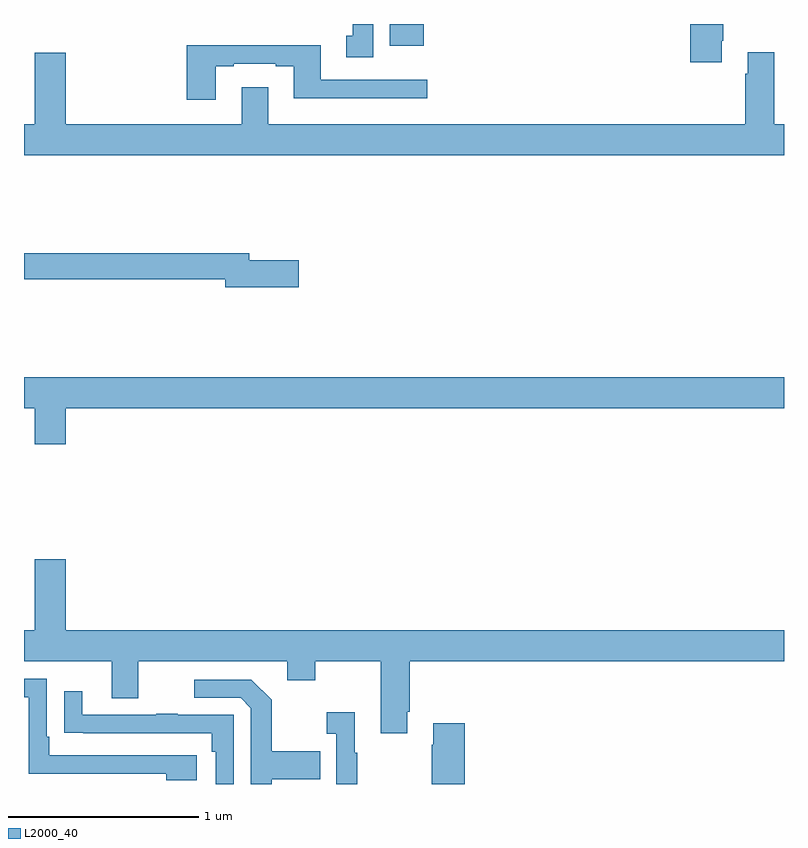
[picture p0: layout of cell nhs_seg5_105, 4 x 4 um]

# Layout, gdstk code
import gdstk
lib = gdstk.Library(unit=1e-6, precision=1e-09)
def R(c, l, rs):  # rectangles x0, y0, x1, y1
    for r in rs: c.add(gdstk.rectangle(r[:2], r[2:], *l))
def P(c, l, *ps):  # polygons
    for p in ps: c.add(gdstk.Polygon(p, *l))
L2000_40 = (2000, 40)

nhs_seg5_105 = lib.new_cell('nhs_seg5_105')
R(nhs_seg5_105, L2000_40, [(118.925,842.684,119.104,842.799)])
P(nhs_seg5_105, L2000_40, [(118.837,842.799),(118.73,842.799),(118.73,842.738),(118.697,842.738),(118.697,842.625),(118.837,842.625)],
  [(120.673,842.71),(120.681,842.71),(120.681,842.799),(120.506,842.799),(120.506,842.598),(120.673,842.598)],
  [(118.009,842.577),(118.105,842.577),(118.105,842.589),(118.325,842.589),(118.325,842.577),(118.421,842.577),(118.421,842.408),(119.122,842.408),(119.122,842.505),(118.561,842.505),(118.561,842.686),(117.857,842.686),(117.857,842.4),(118.009,842.4)],
  [(121,842.272),(120.949,842.272),(120.949,842.65),(120.809,842.65),(120.809,842.537),(120.797,842.537),(120.797,842.272),(118.285,842.272),(118.285,842.467),(118.145,842.467),(118.145,842.272),(117.22,842.272),(117.22,842.647),(117.056,842.647),(117.056,842.272),(117,842.272),(117,842.108),(121,842.108)],
  [(118.447,841.556),(118.186,841.556),(118.186,841.592),(117,841.592),(117,841.456),(118.058,841.456),(118.058,841.414),(118.447,841.414)],
  [(117.22,840.776),(121,840.776),(121,840.94),(117,840.94),(117,840.776),(117.056,840.776),(117.056,840.588),(117.22,840.588)],
  [(119.017,839.179),(119.03,839.179),(119.03,839.444),(121,839.444),(121,839.608),(117.22,839.608),(117.22,839.983),(117.056,839.983),(117.056,839.608),(117,839.608),(117,839.444),(117.461,839.444),(117.461,839.25),(117.601,839.25),(117.601,839.444),(118.385,839.444),(118.385,839.345),(118.533,839.345),(118.533,839.444),(118.877,839.444),(118.877,839.067),(119.017,839.067)],
  [(117.91,838.95),(117.133,838.95),(117.133,839.047),(117.12,839.047),(117.12,839.352),(117,839.352),(117,839.256),(117.024,839.256),(117.024,838.854),(117.749,838.854),(117.749,838.82),(117.91,838.82)],
  [(118.303,838.823),(118.559,838.823),(118.559,838.971),(118.303,838.971),(118.303,839.243),(118.197,839.349),(117.897,839.349),(117.897,839.253),(118.14,839.253),(118.194,839.199),(118.194,838.799),(118.303,838.799)],
  [(118.104,839.163),(117.809,839.163),(117.809,839.168),(117.697,839.168),(117.697,839.163),(117.307,839.163),(117.307,839.287),(117.211,839.287),(117.211,839.068),(117.313,839.068),(117.313,839.067),(117.988,839.067),(117.988,838.97),(118.008,838.97),(118.008,838.799),(118.104,838.799)],
  [(118.753,838.963),(118.741,838.963),(118.741,839.176),(118.593,839.176),(118.593,839.063),(118.644,839.063),(118.644,838.799),(118.753,838.799)],
  [(119.321,839.119),(119.153,839.119),(119.153,839.006),(119.146,839.006),(119.146,838.799),(119.321,838.799)])

lib.write_gds('nhs_seg5_105.gds')
